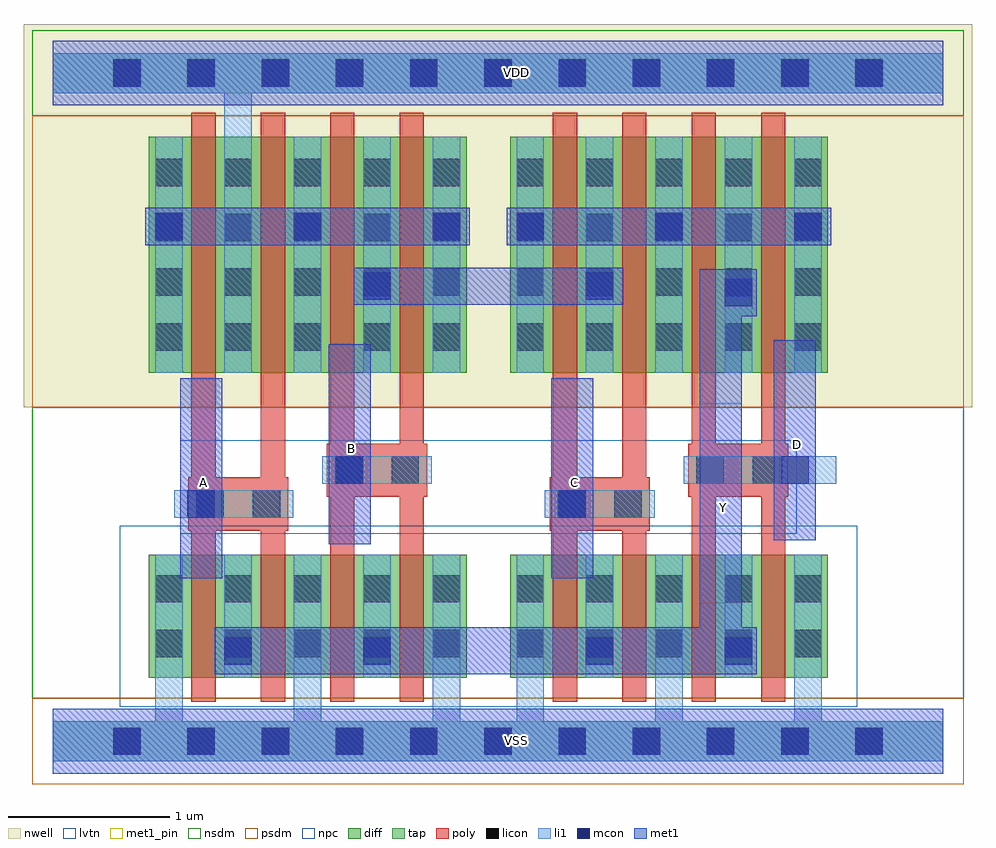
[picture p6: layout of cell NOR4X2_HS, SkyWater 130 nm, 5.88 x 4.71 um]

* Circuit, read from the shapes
.subckt NOR4X2_HS A B C D VDD VSS Y
XM1 Y A VSS VSS sky130_fd_pr__nfet_01v8_lvt w=0.76 l=0.15 m=2
XM2 Y B VSS VSS sky130_fd_pr__nfet_01v8_lvt w=0.76 l=0.15 m=2
XM3 Y C VSS VSS sky130_fd_pr__nfet_01v8_lvt w=0.76 l=0.15 m=2
XM4 Y D VSS VSS sky130_fd_pr__nfet_01v8_lvt w=0.76 l=0.15 m=2
XM5 VDD A n1 VDD sky130_fd_pr__pfet_01v8 w=1.46 l=0.15 m=2
XM6 n2 B n1 VDD sky130_fd_pr__pfet_01v8 w=1.46 l=0.15 m=2
XM7 n2 C n3 VDD sky130_fd_pr__pfet_01v8 w=1.46 l=0.15 m=2
XM8 Y D n3 VDD sky130_fd_pr__pfet_01v8 w=1.46 l=0.15 m=2
.ends

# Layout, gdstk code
import gdstk
lib = gdstk.Library(unit=1e-6, precision=1e-09)
def R(c, l, rs):  # rectangles x0, y0, x1, y1
    for r in rs: c.add(gdstk.rectangle(r[:2], r[2:], *l))
def A(c, l, x, y, w, h, nx, ny, dx, dy):  # array of equal rectangles
    R(c, l, [(x+i*dx, y+j*dy, x+i*dx+w, y+j*dy+h) for i in range(nx) for j in range(ny)])
def P(c, l, *ps):  # polygons
    for p in ps: c.add(gdstk.Polygon(p, *l))
nwell = (64, 20)
diff = (65, 20)
tap = (65, 44)
poly = (66, 20)
licon = (66, 44)
li1 = (67, 20)
mcon = (67, 44)
met1_pin = (68, 16)
met1 = (68, 20)
nsdm = (93, 44)
psdm = (94, 20)
npc = (95, 20)
lvtn = (125, 44)

l1m1_c_cdns_752016586812 = lib.new_cell('L1M1_C_CDNS_752016586812')
R(l1m1_c_cdns_752016586812, li1, [(-0.085,-0.165,0.085,0.165)])
R(l1m1_c_cdns_752016586812, mcon, [(-0.085,-0.085,0.085,0.085)])
R(l1m1_c_cdns_752016586812, met1, [(-0.115,-0.145,0.115,0.145)])

l1m1_c_cdns_752016586814 = lib.new_cell('L1M1_C_CDNS_752016586814')
R(l1m1_c_cdns_752016586814, li1, [(-0.085,-0.165,0.085,0.165)])
R(l1m1_c_cdns_752016586814, mcon, [(-0.085,-0.085,0.085,0.085)])
R(l1m1_c_cdns_752016586814, met1, [(-0.145,-0.115,0.145,0.115)])

pyl1con_c_cdns_752016586 = lib.new_cell('PYL1CON_C_CDNS_752016586813')
R(pyl1con_c_cdns_752016586, poly, [(-0.135,-0.165,0.135,0.165)])
R(pyl1con_c_cdns_752016586, licon, [(-0.085,-0.085,0.085,0.085)])
R(pyl1con_c_cdns_752016586, npc, [(-0.185,-0.185,0.185,0.185)])

l1m1_c_cdns_752016586811 = lib.new_cell('L1M1_C_CDNS_752016586811')
R(l1m1_c_cdns_752016586811, li1, [(-0.165,-0.085,0.165,0.085)])
R(l1m1_c_cdns_752016586811, mcon, [(-0.085,-0.085,0.085,0.085)])
R(l1m1_c_cdns_752016586811, met1, [(-0.115,-0.145,0.115,0.145)])

nor4x2_hs = lib.new_cell('NOR4X2_HS')
R(nor4x2_hs, nwell, [(-0.18,2.07,5.7,4.445)])
R(nor4x2_hs, diff, [(0.595,0.395,2.565,1.155), (2.835,0.395,4.805,1.155), (0.595,2.285,2.565,3.745), (2.835,2.285,4.805,3.745)])
P(nor4x2_hs, poly, [(1.46,1.635),(1.44,1.635),(1.44,3.895),(1.29,3.895),(1.29,1.635),(1.01,1.635),(1.01,3.895),(0.86,3.895),(0.86,1.635),(0.84,1.635),(0.84,1.305),(0.86,1.305),(0.86,0.245),(1.01,0.245),(1.01,1.305),(1.29,1.305),(1.29,0.245),(1.44,0.245),(1.44,1.305),(1.46,1.305)],
  [(2.32,1.845),(2.3,1.845),(2.3,3.895),(2.15,3.895),(2.15,1.845),(1.87,1.845),(1.87,3.895),(1.72,3.895),(1.72,1.845),(1.7,1.845),(1.7,1.515),(1.72,1.515),(1.72,0.245),(1.87,0.245),(1.87,1.515),(2.15,1.515),(2.15,0.245),(2.3,0.245),(2.3,1.515),(2.32,1.515)],
  [(3.7,1.635),(3.68,1.635),(3.68,3.895),(3.53,3.895),(3.53,1.635),(3.25,1.635),(3.25,3.895),(3.1,3.895),(3.1,1.635),(3.08,1.635),(3.08,1.305),(3.1,1.305),(3.1,0.245),(3.25,0.245),(3.25,1.305),(3.53,1.305),(3.53,0.245),(3.68,0.245),(3.68,1.305),(3.7,1.305)],
  [(4.56,1.845),(4.54,1.845),(4.54,3.895),(4.39,3.895),(4.39,1.845),(4.11,1.845),(4.11,3.895),(3.96,3.895),(3.96,1.845),(3.94,1.845),(3.94,1.515),(3.96,1.515),(3.96,0.245),(4.11,0.245),(4.11,1.515),(4.39,1.515),(4.39,0.245),(4.54,0.245),(4.54,1.515),(4.56,1.515)])
A(nor4x2_hs, licon, 0.375, -0.085, 0.17, 0.17, 11, 2, 0.46, 4.14)
A(nor4x2_hs, licon, 0.635, 0.52, 0.17, 0.17, 5, 2, 0.43, 0.34)
A(nor4x2_hs, licon, 2.875, 0.52, 0.17, 0.17, 5, 2, 0.43, 0.34)
A(nor4x2_hs, licon, 0.635, 2.42, 0.17, 0.17, 5, 4, 0.43, 0.34)
A(nor4x2_hs, licon, 2.875, 2.42, 0.17, 0.17, 5, 4, 0.43, 0.34)
A(nor4x2_hs, li1, 1.495, 2.285, 0.17, 1.46, 3, 1, 0.43, 0)
A(nor4x2_hs, li1, 2.875, 2.285, 0.17, 1.46, 5, 1, 0.43, 0)
R(nor4x2_hs, li1, [(1.065,0.395,1.235,1.155), (1.925,0.395,2.095,1.155), (3.305,0.395,3.475,1.155), (4.165,0.395,4.335,1.155), (0.635,2.285,0.805,3.745)])
P(nor4x2_hs, li1, [(5.52,4.265),(0,4.265),(0,4.015),(1.065,4.015),(1.065,2.285),(1.235,2.285),(1.235,4.015),(5.52,4.015)],
  [(5.52,0.125),(4.765,0.125),(4.765,1.155),(4.595,1.155),(4.595,0.125),(3.905,0.125),(3.905,1.155),(3.735,1.155),(3.735,0.125),(3.045,0.125),(3.045,1.155),(2.875,1.155),(2.875,0.125),(2.525,0.125),(2.525,1.155),(2.355,1.155),(2.355,0.125),(1.665,0.125),(1.665,1.155),(1.495,1.155),(1.495,0.125),(0.805,0.125),(0.805,1.155),(0.635,1.155),(0.635,0.125),(0,0.125),(0,-0.125),(5.52,-0.125)])
A(nor4x2_hs, mcon, 0.375, -0.085, 0.17, 0.17, 11, 2, 0.46, 4.14)
R(nor4x2_hs, met1_pin, [(4.01,0.855,4.27,2.095), (0.79,1.01,1.05,2.25), (3.09,1.01,3.35,2.25), (1.71,1.22,1.97,2.46), (4.47,1.245,4.73,2.485)])
P(nor4x2_hs, met1, [(4.365,0.705),(4.27,0.705),(4.27,2.925),(4.01,2.925),(4.01,0.705),(1.005,0.705),(1.005,0.415),(4.365,0.415)])
R(nor4x2_hs, nsdm, [(-0.125,0.265,5.645,2.07), (-0.125,3.875,5.645,4.405)])
R(nor4x2_hs, psdm, [(-0.125,-0.265,5.645,0.265), (-0.125,2.07,5.645,3.875)])
R(nor4x2_hs, npc, [(0.79,1.285,4.61,1.865)])
R(nor4x2_hs, lvtn, [(0.415,0.215,4.985,1.335)])
nor4x2_hs.add(gdstk.FlexPath([(1.67,1.68),(2.35,1.68)], 0.17, ends="flush", simple_path=True, layer=67, datatype=20))  # li1
nor4x2_hs.add(gdstk.FlexPath([(3.91,1.68),(4.855,1.68)], 0.17, ends="flush", simple_path=True, layer=67, datatype=20))  # li1
nor4x2_hs.add(gdstk.FlexPath([(3.05,1.47),(3.73,1.47)], 0.17, ends="flush", simple_path=True, layer=67, datatype=20))  # li1
nor4x2_hs.add(gdstk.FlexPath([(0.81,1.47),(1.49,1.47)], 0.17, ends="flush", simple_path=True, layer=67, datatype=20))  # li1
nor4x2_hs.add(gdstk.FlexPath([(0,4.14),(5.52,4.14)], 0.4, ends="flush", simple_path=True, layer=68, datatype=16))  # met1_pin
nor4x2_hs.add(gdstk.FlexPath([(0,0),(5.52,0)], 0.4, ends="flush", simple_path=True, layer=68, datatype=16))  # met1_pin
nor4x2_hs.add(gdstk.FlexPath([(0,4.14),(5.52,4.14)], 0.4, ends="flush", simple_path=True, layer=68, datatype=20))  # met1
nor4x2_hs.add(gdstk.FlexPath([(0,0),(5.52,0)], 0.4, ends="flush", simple_path=True, layer=68, datatype=20))  # met1
nor4x2_hs.add(gdstk.FlexPath([(0.92,1.01),(0.92,2.25)], 0.26, ends="flush", simple_path=True, layer=68, datatype=20))  # met1
nor4x2_hs.add(gdstk.FlexPath([(4.825,3.19),(2.815,3.19)], 0.23, ends="flush", simple_path=True, layer=68, datatype=20))  # met1
nor4x2_hs.add(gdstk.FlexPath([(2.585,3.19),(0.575,3.19)], 0.23, ends="flush", simple_path=True, layer=68, datatype=20))  # met1
nor4x2_hs.add(gdstk.FlexPath([(4.6,1.245),(4.6,2.485)], 0.26, ends="flush", simple_path=True, layer=68, datatype=20))  # met1
nor4x2_hs.add(gdstk.FlexPath([(3.22,1.01),(3.22,2.25)], 0.26, ends="flush", simple_path=True, layer=68, datatype=20))  # met1
nor4x2_hs.add(gdstk.FlexPath([(1.84,1.22),(1.84,2.46)], 0.26, ends="flush", simple_path=True, layer=68, datatype=20))  # met1
nor4x2_hs.add(gdstk.FlexPath([(3.535,2.82),(1.865,2.82)], 0.23, ends="flush", simple_path=True, layer=68, datatype=20))  # met1
nor4x2_hs.add(gdstk.FlexPath([(0,4.14),(5.52,4.14)], 0.25, ends="flush", simple_path=True, layer=65, datatype=44))  # tap
nor4x2_hs.add(gdstk.FlexPath([(0,0),(5.52,0)], 0.25, ends="flush", simple_path=True, layer=65, datatype=44))  # tap
nor4x2_hs.add(gdstk.Reference(l1m1_c_cdns_752016586812, (4.25,2.78)))
nor4x2_hs.add(gdstk.Reference(l1m1_c_cdns_752016586812, (4.25,0.56)))
nor4x2_hs.add(gdstk.Reference(l1m1_c_cdns_752016586812, (3.39,0.56)))
nor4x2_hs.add(gdstk.Reference(l1m1_c_cdns_752016586812, (2.01,0.56)))
nor4x2_hs.add(gdstk.Reference(l1m1_c_cdns_752016586812, (1.15,0.56)))
nor4x2_hs.add(gdstk.Reference(l1m1_c_cdns_752016586814, (3.39,2.82)))
nor4x2_hs.add(gdstk.Reference(l1m1_c_cdns_752016586814, (2.01,2.82)))
nor4x2_hs.add(gdstk.Reference(l1m1_c_cdns_752016586814, (2.96,3.19)))
nor4x2_hs.add(gdstk.Reference(l1m1_c_cdns_752016586814, (3.82,3.19)))
nor4x2_hs.add(gdstk.Reference(l1m1_c_cdns_752016586814, (4.68,3.19)))
nor4x2_hs.add(gdstk.Reference(l1m1_c_cdns_752016586814, (2.44,3.19)))
nor4x2_hs.add(gdstk.Reference(l1m1_c_cdns_752016586814, (1.58,3.19)))
nor4x2_hs.add(gdstk.Reference(l1m1_c_cdns_752016586814, (0.72,3.19)))
nor4x2_hs.add(gdstk.Reference(pyl1con_c_cdns_752016586, (3.215,1.47)))
nor4x2_hs.add(gdstk.Reference(pyl1con_c_cdns_752016586, (3.565,1.47)))
nor4x2_hs.add(gdstk.Reference(pyl1con_c_cdns_752016586, (4.075,1.68)))
nor4x2_hs.add(gdstk.Reference(pyl1con_c_cdns_752016586, (4.425,1.68)))
nor4x2_hs.add(gdstk.Reference(pyl1con_c_cdns_752016586, (2.185,1.68)))
nor4x2_hs.add(gdstk.Reference(pyl1con_c_cdns_752016586, (1.835,1.68)))
nor4x2_hs.add(gdstk.Reference(pyl1con_c_cdns_752016586, (1.325,1.47)))
nor4x2_hs.add(gdstk.Reference(pyl1con_c_cdns_752016586, (0.975,1.47)))
nor4x2_hs.add(gdstk.Reference(l1m1_c_cdns_752016586811, (4.6,1.68), x_reflection=True))
nor4x2_hs.add(gdstk.Reference(l1m1_c_cdns_752016586811, (3.22,1.47), x_reflection=True))
nor4x2_hs.add(gdstk.Reference(l1m1_c_cdns_752016586811, (1.84,1.68), x_reflection=True))
nor4x2_hs.add(gdstk.Reference(l1m1_c_cdns_752016586811, (0.92,1.47), x_reflection=True))
nor4x2_hs.add(gdstk.Label('VDD', (2.875,4.145), layer=68, texttype=5))
nor4x2_hs.add(gdstk.Label('D', (4.615,1.84), layer=68, texttype=5))
nor4x2_hs.add(gdstk.Label('C', (3.235,1.605), layer=68, texttype=5))
nor4x2_hs.add(gdstk.Label('B', (1.855,1.815), layer=68, texttype=5))
nor4x2_hs.add(gdstk.Label('A', (0.935,1.605), layer=68, texttype=5))
nor4x2_hs.add(gdstk.Label('Y', (4.155,1.45), layer=68, texttype=5))
nor4x2_hs.add(gdstk.Label('VSS', (2.875,0.005), layer=68, texttype=5))

lib.write_gds('NOR4X2_HS.gds')
